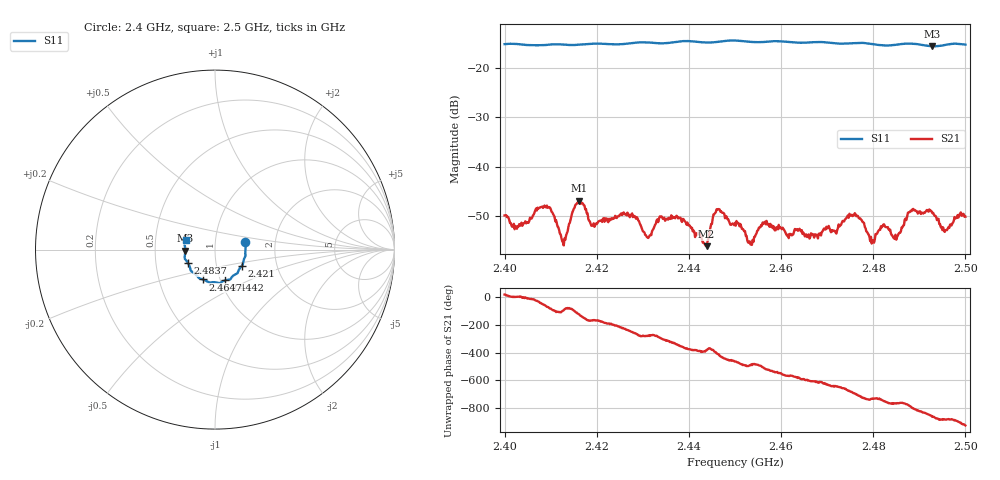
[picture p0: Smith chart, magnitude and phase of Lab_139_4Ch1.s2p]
# Hz S RI R 50
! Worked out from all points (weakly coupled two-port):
!   601 points, 2.4 GHz to 2.5 GHz, reference 50 ohm
!   highest |S21| = -46.85 dB at 2.4162 GHz (marker M1); lowest = -56.0 dB at 2.4438 GHz (marker M2)
!   lowest |S11| = -15.6 dB at 2.4928 GHz (marker M3), VSWR 1.40, Z = 35.8 - j0.389 ohm
!   |S11| at or under -10 dB: start of sweep to end of sweep
!   S12 and S22 are empty: the file has one direction only
!   S11 on the Smith chart (normalised r, x): 2.4 GHz: 1.40, +0.12; 2.421 GHz: 1.33, -0.24; 2.4442 GHz: 1.05, -0.37; 2.4647 GHz: 0.83, -0.29; 2.4837 GHz: 0.73, -0.11; 2.5 GHz: 0.72, +0.08
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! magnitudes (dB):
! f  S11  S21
! 2.4 GHz  -15.2  -49.8
! 2.4095 GHz  -15.3  -48.2
! 2.4128 GHz  -15.3  -55.9
! 2.4162 GHz  -15.3  -46.8
! 2.4167 GHz  -15.3  -47.3
! 2.421 GHz  -15.1  -50.9
! 2.4312 GHz  -14.9  -54.4
! 2.4333 GHz  -15.0  -51.2
! 2.4438 GHz  -14.9  -56.0
! 2.4442 GHz  -14.9  -54.7
! 2.4462 GHz  -14.8  -48.7
! 2.45 GHz  -14.5  -51.3
! 2.4532 GHz  -14.7  -55.1
! 2.4565 GHz  -14.8  -51.1
! 2.4647 GHz  -14.9  -53.6
! 2.4667 GHz  -14.8  -53.6
! 2.4757 GHz  -15.0  -49.7
! 2.4798 GHz  -15.2  -54.9
! 2.4833 GHz  -15.5  -52.6
! 2.4837 GHz  -15.5  -52.7
! 2.4928 GHz  -15.6  -49.4
! 2.5 GHz  -15.3  -50.1
